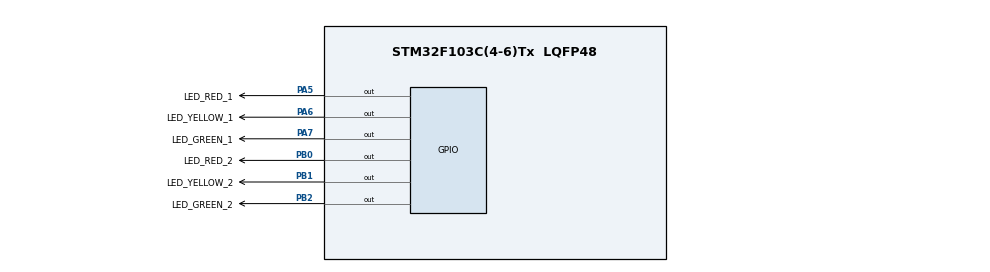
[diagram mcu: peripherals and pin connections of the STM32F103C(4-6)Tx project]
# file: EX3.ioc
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Mcu.Family=STM32F1
Mcu.Name=STM32F103C(4-6)Tx
Mcu.Package=LQFP48
NVIC.PriorityGroup=NVIC_PRIORITYGROUP_4
PA5.GPIO_Label=LED_RED_1
PA5.Signal=GPIO_Output
PA6.GPIO_Label=LED_YELLOW_1
PA6.Signal=GPIO_Output
PA7.GPIO_Label=LED_GREEN_1
PA7.Signal=GPIO_Output
PB0.GPIO_Label=LED_RED_2
PB0.Signal=GPIO_Output
PB1.GPIO_Label=LED_YELLOW_2
PB1.Signal=GPIO_Output
PB2.GPIO_Label=LED_GREEN_2
PB2.Signal=GPIO_Output
ProjectManager.HeapSize=0x200
ProjectManager.StackSize=0x400
ProjectManager.TargetToolchain=STM32CubeIDE
RCC.APB1Freq_Value=8000000
RCC.APB2Freq_Value=8000000
VP_SYS_VS_ND.Mode=No_Debug
board=custom

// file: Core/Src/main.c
/* USER CODE BEGIN Header */
/**
  ******************************************************************************
  * @file           : main.c
  * @brief          : Main program body
  ******************************************************************************
  * @attention
  *
  * <h2><center>&copy; Copyright (c) 2024 STMicroelectronics.
  * All rights reserved.</center></h2>
  *
  * This software component is licensed by ST under BSD 3-Clause license,
  * the "License"; You may not use this file except in compliance with the
  * License. You may obtain a copy of the License at:
  *                        opensource.org/licenses/BSD-3-Clause
  *
  ******************************************************************************
  */
/* USER CODE END Header */
#include "main.h"

void SystemClock_Config(void);
static void MX_GPIO_Init(void);

int main(void)
{

  /* MCU Configuration--------------------------------------------------------*/

  /* Reset of all peripherals, Initializes the Flash interface and the Systick. */
  HAL_Init();

  /* Configure the system clock */
  SystemClock_Config();

  /* Initialize all configured peripherals */
  MX_GPIO_Init();
  /* USER CODE BEGIN 2 */
  int time = 0;
  HAL_GPIO_TogglePin(LED_RED_1_GPIO_Port, LED_RED_1_Pin);
  HAL_GPIO_TogglePin(LED_YELLOW_1_GPIO_Port, LED_YELLOW_1_Pin);
  HAL_GPIO_TogglePin(LED_GREEN_2_GPIO_Port, LED_GREEN_2_Pin);
  HAL_GPIO_TogglePin(LED_YELLOW_2_GPIO_Port, LED_YELLOW_2_Pin);
  /* USER CODE END 2 */

  /* Infinite loop */
  while (1)
  {

    /* USER CODE BEGIN 3 */
	  switch(time){
	  	  //turn of green1 and off yellow1
	  	  case(3):
	  			  HAL_GPIO_TogglePin(LED_GREEN_1_GPIO_Port, LED_GREEN_1_Pin);
	  	  	  	  HAL_GPIO_TogglePin(LED_YELLOW_1_GPIO_Port, LED_YELLOW_1_Pin);
	  			  time++;
	  	  	  	  break;
	  	  // turn off yellow1, red2 turn on, red1, green2
	  	  case(5):
					HAL_GPIO_TogglePin(LED_YELLOW_1_GPIO_Port , LED_YELLOW_1_Pin ) ;
			 	 	HAL_GPIO_TogglePin ( LED_RED_1_GPIO_Port , LED_RED_1_Pin ) ;
			 	 	HAL_GPIO_TogglePin ( LED_GREEN_2_GPIO_Port , LED_GREEN_2_Pin ) ;
			 	 	HAL_GPIO_TogglePin ( LED_RED_2_GPIO_Port , LED_RED_2_Pin ) ;
				  time++;
			  	  break;
		  //turn off green2, turn on yellow2
	  	  case(8):
				  HAL_GPIO_TogglePin ( LED_YELLOW_2_GPIO_Port , LED_YELLOW_2_Pin ) ;
				  HAL_GPIO_TogglePin ( LED_GREEN_2_GPIO_Port , LED_GREEN_2_Pin ) ;
				  time++;
			  	  break;
		  //turn off yellow2, red1 , turn on red2, green1
	  	  case(10):
				  HAL_GPIO_TogglePin ( LED_YELLOW_2_GPIO_Port , LED_YELLOW_2_Pin ) ;
				  HAL_GPIO_TogglePin ( LED_RED_2_GPIO_Port , LED_RED_2_Pin ) ;
				  HAL_GPIO_TogglePin ( LED_RED_1_GPIO_Port , LED_RED_1_Pin ) ;
				  HAL_GPIO_TogglePin ( LED_GREEN_1_GPIO_Port , LED_GREEN_1_Pin ) ;
				  time = 1;
			  	  break;
	  	  default:
	  		  time++;
	  		  break;
	  }
	  HAL_Delay(1000);
  }
  /* USER CODE END 3 */
}

void SystemClock_Config(void)
{
  RCC_OscInitTypeDef RCC_OscInitStruct = {0};
  RCC_ClkInitTypeDef RCC_ClkInitStruct = {0};

  /** Initializes the RCC Oscillators according to the specified parameters
  * in the RCC_OscInitTypeDef structure.
  */
  RCC_OscInitStruct.OscillatorType = RCC_OSCILLATORTYPE_HSI;
  RCC_OscInitStruct.HSIState = RCC_HSI_ON;
  RCC_OscInitStruct.HSICalibrationValue = RCC_HSICALIBRATION_DEFAULT;
  RCC_OscInitStruct.PLL.PLLState = RCC_PLL_NONE;
  if (HAL_RCC_OscConfig(&RCC_OscInitStruct) != HAL_OK)
  {
    Error_Handler();
  }
  /** Initializes the CPU, AHB and APB buses clocks
  */
  RCC_ClkInitStruct.ClockType = RCC_CLOCKTYPE_HCLK|RCC_CLOCKTYPE_SYSCLK
                              |RCC_CLOCKTYPE_PCLK1|RCC_CLOCKTYPE_PCLK2;
  RCC_ClkInitStruct.SYSCLKSource = RCC_SYSCLKSOURCE_HSI;
  RCC_ClkInitStruct.AHBCLKDivider = RCC_SYSCLK_DIV1;
  RCC_ClkInitStruct.APB1CLKDivider = RCC_HCLK_DIV1;
  RCC_ClkInitStruct.APB2CLKDivider = RCC_HCLK_DIV1;

  if (HAL_RCC_ClockConfig(&RCC_ClkInitStruct, FLASH_LATENCY_0) != HAL_OK)
  {
    Error_Handler();
  }
}

static void MX_GPIO_Init(void)
{
  GPIO_InitTypeDef GPIO_InitStruct = {0};

  /* GPIO Ports Clock Enable */
  __HAL_RCC_GPIOA_CLK_ENABLE();
  __HAL_RCC_GPIOB_CLK_ENABLE();

  /*Configure GPIO pin Output Level */
  HAL_GPIO_WritePin(GPIOA, LED_RED_1_Pin|LED_YELLOW_1_Pin|LED_GREEN_1_Pin, GPIO_PIN_RESET);

  /*Configure GPIO pin Output Level */
  HAL_GPIO_WritePin(GPIOB, LED_RED_2_Pin|LED_YELLOW_2_Pin|LED_GREEN_2_Pin, GPIO_PIN_RESET);

  /*Configure GPIO pins : LED_RED_1_Pin LED_YELLOW_1_Pin LED_GREEN_1_Pin */
  GPIO_InitStruct.Pin = LED_RED_1_Pin|LED_YELLOW_1_Pin|LED_GREEN_1_Pin;
  GPIO_InitStruct.Mode = GPIO_MODE_OUTPUT_PP;
  GPIO_InitStruct.Pull = GPIO_NOPULL;
  GPIO_InitStruct.Speed = GPIO_SPEED_FREQ_LOW;
  HAL_GPIO_Init(GPIOA, &GPIO_InitStruct);

  /*Configure GPIO pins : LED_RED_2_Pin LED_YELLOW_2_Pin LED_GREEN_2_Pin */
  GPIO_InitStruct.Pin = LED_RED_2_Pin|LED_YELLOW_2_Pin|LED_GREEN_2_Pin;
  GPIO_InitStruct.Mode = GPIO_MODE_OUTPUT_PP;
  GPIO_InitStruct.Pull = GPIO_NOPULL;
  GPIO_InitStruct.Speed = GPIO_SPEED_FREQ_LOW;
  HAL_GPIO_Init(GPIOB, &GPIO_InitStruct);

}

void Error_Handler(void)
{
  __disable_irq();
  while (1)
  {
  }
}

/************************ (C) COPYRIGHT STMicroelectronics *****END OF FILE****/
